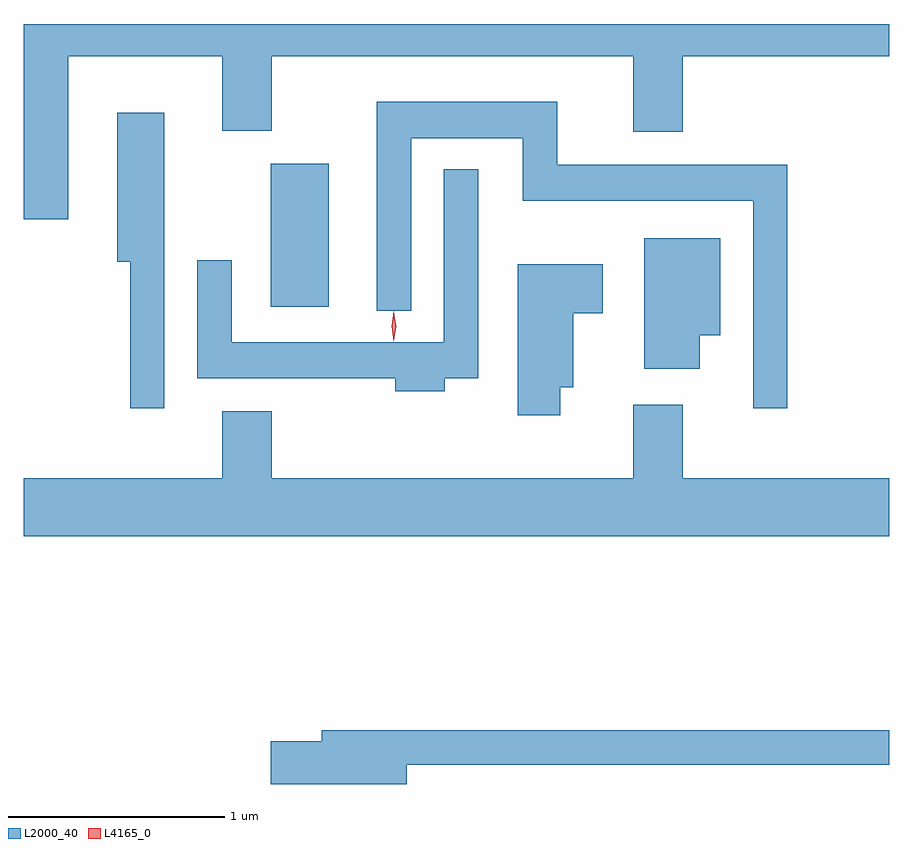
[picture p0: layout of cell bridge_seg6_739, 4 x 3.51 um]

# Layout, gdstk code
import gdstk
lib = gdstk.Library(unit=1e-6, precision=1e-09)
def R(c, l, rs):  # rectangles x0, y0, x1, y1
    for r in rs: c.add(gdstk.rectangle(r[:2], r[2:], *l))
def P(c, l, *ps):  # polygons
    for p in ps: c.add(gdstk.Polygon(p, *l))
L2000_40 = (2000, 40)
L4165_0 = (4165, 0)

bridge_seg6_739 = lib.new_cell('bridge_seg6_739')
R(bridge_seg6_739, L2000_40, [(436.526,1566.636,436.794,1567.299)])
P(bridge_seg6_739, L2000_40, [(435.589,1567.796),(436.301,1567.796),(436.301,1567.451),(436.529,1567.451),(436.529,1567.796),(438.201,1567.796),(438.201,1567.446),(438.429,1567.446),(438.429,1567.796),(439.384,1567.796),(439.384,1567.944),(435.384,1567.944),(435.384,1567.041),(435.589,1567.041)],
  [(438.914,1567.294),(437.849,1567.294),(437.849,1567.584),(437.016,1567.584),(437.016,1566.618),(437.174,1566.618),(437.174,1567.416),(437.691,1567.416),(437.691,1567.126),(438.756,1567.126),(438.756,1566.168),(438.914,1566.168)],
  [(436.034,1567.534),(435.816,1567.534),(435.816,1566.846),(435.876,1566.846),(435.876,1566.168),(436.034,1566.168)],
  [(437.329,1566.306),(437.484,1566.306),(437.484,1567.273),(437.326,1567.273),(437.326,1566.474),(436.344,1566.474),(436.344,1566.853),(436.186,1566.853),(436.186,1566.306),(437.101,1566.306),(437.101,1566.246),(437.329,1566.246)],
  [(438.509,1566.506),(438.604,1566.506),(438.604,1566.954),(438.251,1566.954),(438.251,1566.351),(438.509,1566.351)],
  [(437.864,1566.266),(437.924,1566.266),(437.924,1566.606),(438.059,1566.606),(438.059,1566.834),(437.666,1566.834),(437.666,1566.136),(437.864,1566.136)],
  [(439.384,1565.844),(438.429,1565.844),(438.429,1566.184),(438.201,1566.184),(438.201,1565.844),(436.529,1565.844),(436.529,1566.154),(436.301,1566.154),(436.301,1565.844),(435.384,1565.844),(435.384,1565.576),(439.384,1565.576)],
  [(437.154,1564.521),(439.384,1564.521),(439.384,1564.679),(436.761,1564.679),(436.761,1564.629),(436.526,1564.629),(436.526,1564.431),(437.154,1564.431)])
P(bridge_seg6_739, L4165_0, [(437.095,1566.479),(437.094,1566.48),(437.085,1566.546),(437.094,1566.612),(437.095,1566.613),(437.095,1566.612),(437.105,1566.546),(437.095,1566.48)],
  [(437.094,1566.477),(437.094,1566.477),(437.084,1566.546),(437.094,1566.616),(437.094,1566.616),(437.095,1566.616),(437.104,1566.546),(437.095,1566.477)])

lib.write_gds('bridge_seg6_739.gds')
